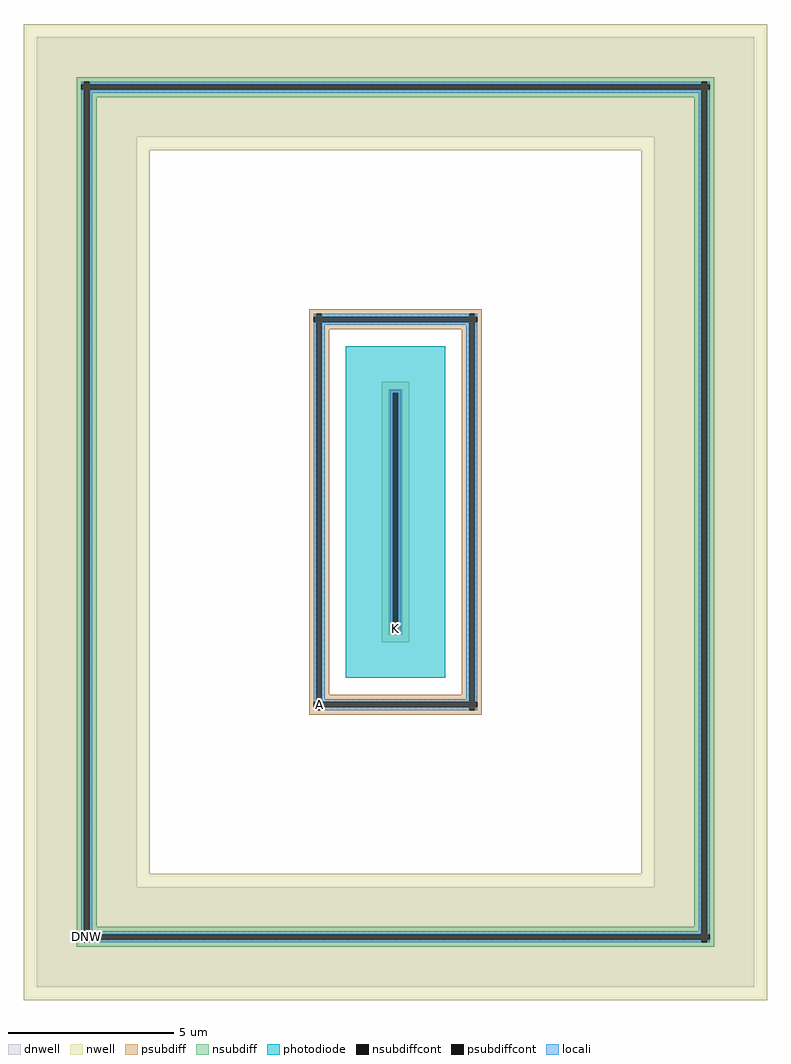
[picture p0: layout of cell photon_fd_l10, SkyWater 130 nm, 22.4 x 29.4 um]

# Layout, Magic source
magic
tech sky130A
magscale 1 2
<< dnwell >>
rect -1860 3260 2460 3860
rect -1860 -1260 -1260 3260
rect 1860 -1260 2460 3260
rect -1860 -1860 2460 -1260
<< photodiode >>
rect 0 0 600 2000
<< nwell >>
rect -1940 3180 2540 3940
rect -1940 -1180 -1180 3180
rect 216 216 384 1784
rect 1780 -1180 2540 3180
rect -1940 -1940 2540 -1180
<< psubdiff >>
rect -220 2193 820 2220
rect -220 2177 -177 2193
rect -143 2177 743 2193
rect 777 2177 820 2193
rect -220 2143 -193 2177
rect 793 2143 820 2177
rect -220 -143 -177 2143
rect -143 2100 743 2143
rect -143 -100 -100 2100
rect 700 -100 743 2100
rect -143 -143 743 -100
rect 777 -143 820 2143
rect -220 -177 -193 -143
rect 793 -177 820 -143
rect -220 -193 -177 -177
rect -143 -193 743 -177
rect 777 -193 820 -177
rect -220 -220 820 -193
<< nsubdiff >>
rect -1620 3593 2220 3620
rect -1620 3577 -1577 3593
rect -1543 3577 2143 3593
rect 2177 3577 2220 3593
rect -1620 3543 -1593 3577
rect 2193 3543 2220 3577
rect -1620 -1543 -1577 3543
rect -1543 3500 2143 3543
rect -1543 -1500 -1500 3500
rect 259 1717 341 1741
rect 259 283 283 1717
rect 317 283 341 1717
rect 259 259 341 283
rect 2100 -1500 2143 3500
rect -1543 -1543 2143 -1500
rect 2177 -1543 2220 3543
rect -1620 -1577 -1593 -1543
rect 2193 -1577 2220 -1543
rect -1620 -1593 -1577 -1577
rect -1543 -1593 2143 -1577
rect 2177 -1593 2220 -1577
rect -1620 -1620 2220 -1593
<< psubdiffcont >>
rect -177 2177 -143 2193
rect 743 2177 777 2193
rect -193 2143 793 2177
rect -177 -143 -143 2143
rect 743 -143 777 2143
rect -193 -177 793 -143
rect -177 -193 -143 -177
rect 743 -193 777 -177
<< nsubdiffcont >>
rect -1577 3577 -1543 3593
rect 2143 3577 2177 3593
rect -1593 3543 2193 3577
rect -1577 -1543 -1543 3543
rect 283 283 317 1717
rect 2143 -1543 2177 3543
rect -1593 -1577 2193 -1543
rect -1577 -1593 -1543 -1577
rect 2143 -1593 2177 -1577
<< locali >>
rect -1593 3577 -1577 3593
rect -1543 3577 2143 3593
rect 2177 3577 2193 3593
rect -1593 -1543 -1577 3543
rect -1543 3527 2143 3543
rect -1543 -1527 -1527 3527
rect -193 2177 -177 2193
rect -143 2177 743 2193
rect 777 2177 793 2193
rect -193 -143 -177 2143
rect -143 2127 743 2143
rect -143 -127 -127 2127
rect 267 1717 333 1733
rect 267 283 283 1717
rect 317 283 333 1717
rect 267 267 333 283
rect 727 -127 743 2127
rect -143 -143 743 -127
rect 777 -143 793 2143
rect -193 -193 -177 -177
rect -143 -193 743 -177
rect 777 -193 793 -177
rect 2127 -1527 2143 3527
rect -1543 -1543 2143 -1527
rect 2177 -1543 2193 3543
rect -1593 -1593 -1577 -1577
rect -1543 -1593 2143 -1577
rect 2177 -1593 2193 -1577
<< labels >>
rlabel locali -1593 -1593 -1527 -1527 0 DNW
port 1 nsew
rlabel locali 267 267 333 333 0 K
port 2 nsew
rlabel locali -193 -193 -127 -127 0 A
port 3 nsew
<< end >>
